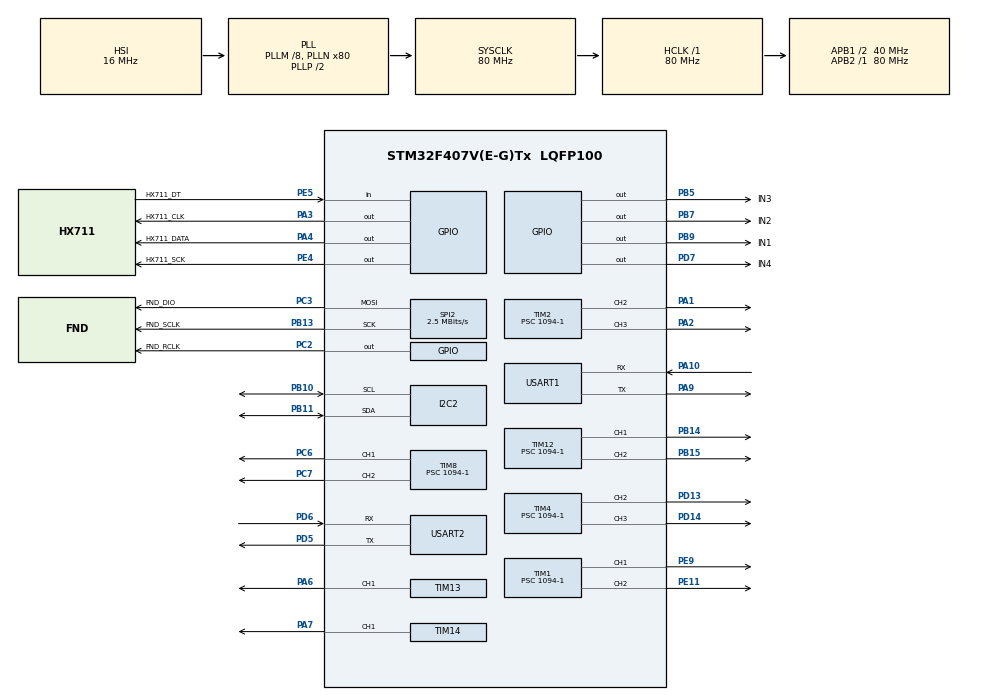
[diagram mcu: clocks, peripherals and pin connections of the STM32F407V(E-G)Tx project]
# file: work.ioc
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I2C2.I2C_Mode=I2C_Fast
Mcu.Family=STM32F4
Mcu.Name=STM32F407V(E-G)Tx
Mcu.Package=LQFP100
NVIC.PriorityGroup=NVIC_PRIORITYGROUP_4
NVIC.TIM2_IRQn=true\:0\:0\:false\:false\:true\:true\:true\:true
NVIC.TIM3_IRQn=true\:10\:0\:true\:false\:true\:true\:true\:true
NVIC.TIM6_DAC_IRQn=true\:15\:0\:true\:false\:true\:true\:true\:true
NVIC.USART1_IRQn=true\:0\:0\:false\:false\:true\:true\:true\:true
NVIC.USART2_IRQn=true\:0\:0\:false\:false\:true\:true\:true\:true
PA1.Signal=S_TIM2_CH2
PA10.Mode=Asynchronous
PA10.Signal=USART1_RX
PA2.Signal=S_TIM2_CH3
PA3.GPIO_Label=HX711_CLK
PA3.GPIO_ModeDefaultOutputPP=GPIO_MODE_OUTPUT_PP
PA3.GPIO_PuPd=GPIO_PULLUP
PA3.GPIO_Speed=GPIO_SPEED_FREQ_HIGH
PA3.PinState=GPIO_PIN_SET
PA3.Signal=GPIO_Output
PA4.GPIO_Label=HX711_DATA
PA4.GPIO_PuPd=GPIO_PULLUP
PA4.GPIO_Speed=GPIO_SPEED_FREQ_HIGH
PA4.PinState=GPIO_PIN_SET
PA4.Signal=GPIO_Output
PA6.Signal=S_TIM13_CH1
PA7.Signal=S_TIM14_CH1
PA9.Mode=Asynchronous
PA9.Signal=USART1_TX
PB10.Mode=I2C
PB10.Signal=I2C2_SCL
PB11.Mode=I2C
PB11.Signal=I2C2_SDA
PB13.GPIO_Label=FND_SCLK
PB13.GPIO_Speed=GPIO_SPEED_FREQ_HIGH
PB13.Mode=TX_Only_Simplex_Unidirect_Master
PB13.Signal=SPI2_SCK
PB14.Signal=S_TIM12_CH1
PB15.Signal=S_TIM12_CH2
PB5.GPIO_Label=IN3
PB5.GPIO_ModeDefaultOutputPP=GPIO_MODE_OUTPUT_PP
PB5.GPIO_PuPd=GPIO_PULLUP
PB5.GPIO_Speed=GPIO_SPEED_FREQ_HIGH
PB5.PinState=GPIO_PIN_SET
PB5.Signal=GPIO_Output
PB7.GPIO_Label=IN2
PB7.GPIO_PuPd=GPIO_PULLUP
PB7.GPIO_Speed=GPIO_SPEED_FREQ_HIGH
PB7.PinState=GPIO_PIN_SET
PB7.Signal=GPIO_Output
PB9.GPIO_Label=IN1
PB9.GPIO_PuPd=GPIO_NOPULL
PB9.GPIO_Speed=GPIO_SPEED_FREQ_HIGH
PB9.PinState=GPIO_PIN_SET
PB9.Signal=GPIO_Output
PC14-OSC32_IN.Mode=LSE-External-Oscillator
PC14-OSC32_IN.Signal=RCC_OSC32_IN
PC15-OSC32_OUT.Mode=LSE-External-Oscillator
PC15-OSC32_OUT.Signal=RCC_OSC32_OUT
PC2.GPIO_Label=FND_RCLK
PC2.GPIO_PuPd=GPIO_PULLUP
PC2.GPIO_Speed=GPIO_SPEED_FREQ_HIGH
PC2.PinState=GPIO_PIN_SET
PC2.Signal=GPIO_Output
PC3.GPIO_Label=FND_DIO
PC3.GPIO_Speed=GPIO_SPEED_FREQ_HIGH
PC3.Mode=TX_Only_Simplex_Unidirect_Master
PC3.Signal=SPI2_MOSI
PC6.Signal=S_TIM8_CH1
PC7.Signal=S_TIM8_CH2
PD13.Signal=S_TIM4_CH2
PD14.Signal=S_TIM4_CH3
PD5.Mode=Asynchronous
PD5.Signal=USART2_TX
PD6.Mode=Asynchronous
PD6.Signal=USART2_RX
PD7.GPIO_Label=IN4
PD7.GPIO_PuPd=GPIO_PULLUP
PD7.GPIO_Speed=GPIO_SPEED_FREQ_HIGH
PD7.PinState=GPIO_PIN_SET
PD7.Signal=GPIO_Output
PE11.Signal=S_TIM1_CH2
PE4.GPIO_Label=HX711_SCK
PE4.Signal=GPIO_Output
PE5.GPIO_Label=HX711_DT
PE5.Signal=GPIO_Input
PE9.Signal=S_TIM1_CH1
PH0-OSC_IN.Mode=HSE-External-Oscillator
PH0-OSC_IN.Signal=RCC_OSC_IN
PH1-OSC_OUT.Mode=HSE-External-Oscillator
PH1-OSC_OUT.Signal=RCC_OSC_OUT
ProjectManager.HeapSize=0x200
ProjectManager.StackSize=0x400
ProjectManager.TargetToolchain=STM32CubeIDE
RCC.48MHZClocksFreq_Value=40000000
RCC.AHBFreq_Value=80000000
RCC.APB1CLKDivider=RCC_HCLK_DIV2
RCC.APB1Freq_Value=40000000
RCC.APB1TimFreq_Value=80000000
RCC.APB2Freq_Value=80000000
RCC.APB2TimFreq_Value=80000000
RCC.CortexFreq_Value=80000000
RCC.HCLKFreq_Value=80000000
RCC.HSE_VALUE=25000000
RCC.HSI_VALUE=16000000
RCC.PLLM=8
RCC.PLLN=80
RCC.SYSCLKFreq_VALUE=80000000
RCC.SYSCLKSource=RCC_SYSCLKSOURCE_PLLCLK
RCC.VCOOutputFreq_Value=160000000
SH.S_TIM12_CH1.0=TIM12_CH1,PWM Generation1 CH1
SH.S_TIM12_CH2.0=TIM12_CH2,PWM Generation2 CH2
SH.S_TIM13_CH1.0=TIM13_CH1,PWM Generation1 CH1
SH.S_TIM14_CH1.0=TIM14_CH1,PWM Generation1 CH1
SH.S_TIM1_CH1.0=TIM1_CH1,PWM Generation1 CH1
SH.S_TIM1_CH2.0=TIM1_CH2,PWM Generation2 CH2
SH.S_TIM2_CH2.0=TIM2_CH2,PWM Generation2 CH2
SH.S_TIM2_CH3.0=TIM2_CH3,PWM Generation3 CH3
SH.S_TIM4_CH2.0=TIM4_CH2,PWM Generation2 CH2
SH.S_TIM4_CH3.0=TIM4_CH3,PWM Generation3 CH3
SH.S_TIM8_CH1.0=TIM8_CH1,PWM Generation1 CH1
SH.S_TIM8_CH2.0=TIM8_CH2,PWM Generation2 CH2
SPI2.BaudRatePrescaler=SPI_BAUDRATEPRESCALER_16
SPI2.CLKPhase=SPI_PHASE_2EDGE
SPI2.CLKPolarity=SPI_POLARITY_HIGH
SPI2.CalculateBaudRate=2.5 MBits/s
SPI2.Direction=SPI_DIRECTION_2LINES
SPI2.Mode=SPI_MODE_MASTER
SPI2.VirtualType=VM_MASTER
TIM1.Channel-PWM\ Generation1\ CH1=TIM_CHANNEL_1
TIM1.Channel-PWM\ Generation2\ CH2=TIM_CHANNEL_2
TIM1.OCPolarity_2=TIM_OCPOLARITY_LOW
TIM1.Period=9999
TIM1.Prescaler=1094-1
TIM1.Pulse-PWM\ Generation1\ CH1=500
TIM1.Pulse-PWM\ Generation2\ CH2=500
TIM12.Channel-PWM\ Generation1\ CH1=TIM_CHANNEL_1
TIM12.Channel-PWM\ Generation2\ CH2=TIM_CHANNEL_2
TIM12.OCPolarity_2=TIM_OCPOLARITY_LOW
TIM12.Period=1000-1
TIM12.Prescaler=1094-1
TIM12.Pulse-PWM\ Generation1\ CH1=500
TIM12.Pulse-PWM\ Generation2\ CH2=500
TIM13.Channel=TIM_CHANNEL_1
TIM13.Period=1000-1
TIM13.Prescaler=1094-1
TIM13.Pulse=500
TIM14.Channel=TIM_CHANNEL_1
TIM14.OCPolarity_1=TIM_OCPOLARITY_HIGH
TIM14.Period=1000-1
TIM14.Prescaler=1094-1
TIM14.Pulse=500
TIM2.Channel-Output\ Compare1\ No\ Output=TIM_CHANNEL_1
TIM2.Channel-PWM\ Generation2\ CH2=TIM_CHANNEL_2
TIM2.Channel-PWM\ Generation3\ CH3=TIM_CHANNEL_3
TIM2.OCPolarity_3=TIM_OCPOLARITY_LOW
TIM2.Period=1000-1
TIM2.Prescaler=1094-1
TIM2.Pulse-Output\ Compare1\ No\ Output=250
TIM2.Pulse-PWM\ Generation2\ CH2=500
TIM2.Pulse-PWM\ Generation3\ CH3=500
TIM2.TIM_MasterOutputTrigger=TIM_TRGO_OC1
TIM2.TIM_MasterSlaveMode=TIM_MASTERSLAVEMODE_ENABLE
TIM3.Period=50-1
TIM3.Prescaler=80-1
TIM4.Channel-Output\ Compare1\ No\ Output=TIM_CHANNEL_1
TIM4.Channel-PWM\ Generation2\ CH2=TIM_CHANNEL_2
TIM4.Channel-PWM\ Generation3\ CH3=TIM_CHANNEL_3
TIM4.OCPolarity_3=TIM_OCPOLARITY_LOW
TIM4.Period=1000-1
TIM4.Prescaler=1094-1
TIM4.Pulse-Output\ Compare1\ No\ Output=250
TIM4.Pulse-PWM\ Generation2\ CH2=500
TIM4.Pulse-PWM\ Generation3\ CH3=500
TIM4.TIM_MasterOutputTrigger=TIM_TRGO_OC1
TIM4.TIM_MasterSlaveMode=TIM_MASTERSLAVEMODE_ENABLE
TIM5.Prescaler=80-1
TIM6.Period=40000-1
TIM6.Prescaler=8000-1
TIM8.Channel-PWM\ Generation1\ CH1=TIM_CHANNEL_1
TIM8.Channel-PWM\ Generation2\ CH2=TIM_CHANNEL_2
TIM8.OCPolarity_2=TIM_OCPOLARITY_LOW
TIM8.Period=9999
TIM8.Prescaler=1094-1
TIM8.Pulse-PWM\ Generation1\ CH1=500
TIM8.Pulse-PWM\ Generation2\ CH2=500
TIM9.Prescaler=80-1
USART1.VirtualMode=VM_ASYNC
USART2.VirtualMode=VM_ASYNC
VP_TIM12_VS_ClockSourceINT.Mode=Internal
VP_TIM13_VS_ClockSourceINT.Mode=Enable_Timer
VP_TIM14_VS_ClockSourceINT.Mode=Enable_Timer
VP_TIM1_VS_ClockSourceINT.Mode=Internal
VP_TIM1_VS_ClockSourceITR.Mode=TriggerSource_ITR3
VP_TIM1_VS_ControllerModeReset.Mode=Reset Mode
VP_TIM2_VS_ClockSourceINT.Mode=Internal
VP_TIM2_VS_no_output1.Mode=Output Compare1 No Output
VP_TIM3_VS_ClockSourceINT.Mode=Internal
VP_TIM4_VS_ClockSourceINT.Mode=Internal
VP_TIM4_VS_no_output1.Mode=Output Compare1 No Output
VP_TIM5_VS_ClockSourceINT.Mode=Internal
VP_TIM6_VS_ClockSourceINT.Mode=Enable_Timer
VP_TIM8_VS_ClockSourceINT.Mode=Internal
VP_TIM8_VS_ClockSourceITR.Mode=TriggerSource_ITR1
VP_TIM8_VS_ControllerModeReset.Mode=Reset Mode
VP_TIM9_VS_ClockSourceINT.Mode=Internal
board=custom

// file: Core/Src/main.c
/* USER CODE BEGIN Header */
/**
 ******************************************************************************
 * @file           : main.c
 * @brief          : Main program body
 ******************************************************************************
 * @attention
 *
 * Copyright (c) 2023 STMicroelectronics.
 * All rights reserved.
 *
 * This software is licensed under terms that can be found in the LICENSE file
 * in the root directory of this software component.
 * If no LICENSE file comes with this software, it is provided AS-IS.
 *
 ******************************************************************************
 */
/* USER CODE END Header */
#include "main.h"

/* USER CODE BEGIN PTD */
#include <stdio.h>
#include <math.h>
#include "fnd_controller.h"
#include "fonts.h"
#include "ssd1306.h"
#include "test.h"
#include "bitmap.h"
#include "horse_anim.h"
#include "OledController.h"
#include "HX711.h"
#include "StepAngle.h"
#include <stdlib.h>
#include "StepController.h"
#include "ESP_DATA_HANDLER.h"
/* USER CODE END PTD */

/* USER CODE BEGIN PD */
#define SALT 1
#define SUGAR 2
#define BLACK 3
#define RED 4
#define ALL 5
/* USER CODE END PD */

I2C_HandleTypeDef hi2c2;

SPI_HandleTypeDef hspi2;

TIM_HandleTypeDef htim1;
TIM_HandleTypeDef htim2;
TIM_HandleTypeDef htim3;
TIM_HandleTypeDef htim4;
TIM_HandleTypeDef htim5;
TIM_HandleTypeDef htim6;
TIM_HandleTypeDef htim8;
TIM_HandleTypeDef htim9;
TIM_HandleTypeDef htim12;
TIM_HandleTypeDef htim13;
TIM_HandleTypeDef htim14;

UART_HandleTypeDef huart1;
UART_HandleTypeDef huart2;

/* USER CODE BEGIN PV */
int _write(int file, char *p, int len) {
	HAL_UART_Transmit(&huart1, (uint8_t*) p, len, 10);
	return len;
}

char uart_cali[10] = "";
char senddata[20] = "zzz";

int32_t weight = 0;
int32_t initial_weight = 0;
float weight_f = 0;
float initial_weight_f = 0;
float uart_weight_f = 0;
float avg_weight_f = 0;
int hx_flag = 0;
int uart_cnt = 0;
int print_flag = 0;
int salt_weight = 0;
int sugar_weight = 0;

int step_flag = 0;

int ploar_flag = 0;

int experiment_flag = 0;

uint16_t ttteee1;
uint16_t ttteee2;

extern userDetails user[10];
extern int usernumber;

int print_usernumber;

/*
 // bluetooth uart
 uint8_t rx3_data;
 uint8_t rx1_data;

 char Rx_buffer[100];

 int Rx_index = 0;
 char which;
 */

/* USER CODE END PV */

void SystemClock_Config(void);
static void MX_GPIO_Init(void);
static void MX_TIM2_Init(void);
static void MX_USART1_UART_Init(void);
static void MX_SPI2_Init(void);
static void MX_TIM3_Init(void);
static void MX_TIM4_Init(void);
static void MX_I2C2_Init(void);
static void MX_TIM5_Init(void);
static void MX_TIM8_Init(void);
static void MX_TIM1_Init(void);
static void MX_USART2_UART_Init(void);
static void MX_TIM12_Init(void);
static void MX_TIM13_Init(void);
static void MX_TIM14_Init(void);
static void MX_TIM9_Init(void);
static void MX_TIM6_Init(void);

/* USER CODE BEGIN 0 */

/*
 void HAL_UART_RxCpltCallback(UART_HandleTypeDef *huart)
 {

 if(huart -> Instance == USART1) //pc -> mobile
 {
 HAL_UART_Transmit(&huart1, &rx1_data, sizeof(rx1_data), 10);
 HAL_UART_Transmit(&huart3, &rx1_data, sizeof(rx1_data), 10);
 HAL_UART_Receive_IT(&huart1, &rx1_data, 1);

 }
 else if(huart->Instance == USART3) //mobile ->pc
 {

 //HAL_UART_Transmit(&huart1, "OK", strlen("OK"), 10);

 if(rx3_data == 'A' || rx3_data == 'B')
 {
 if(rx3_data == 'A')
 {
 hx_flag = 1;
 }
 else if(rx3_data == 'B')
 {
 hx_flag = 2;
 Rx_buffer[Rx_index] = '\0';
 Rx_index=0;
 sugar_weight = atoi(Rx_buffer);
 memset(Rx_buffer,'\0',sizeof(Rx_buffer));
 }
 }
 else if(rx3_data != '\n')
 {
 Rx_buffer[Rx_index++] = rx3_data;

 }

 else
 {

 HAL_TIM_PWM_Start(&htim2, TIM_CHANNEL_2);

 HAL_TIM_PWM_Start(&htim2, TIM_CHANNEL_3);

 HAL_TIM_PWM_Start(&htim8, TIM_CHANNEL_1);

 HAL_TIM_PWM_Start(&htim8, TIM_CHANNEL_2);

 print_flag = 1;
 Rx_buffer[Rx_index] = '\0';
 Rx_index=0;
 salt_weight = atoi(Rx_buffer);

 //uart_weight_f = atof(Rx_buffer);

 }

 HAL_UART_Transmit(&huart1, &rx3_data, sizeof(rx3_data), 10);
 //HAL_UART_Transmit(&huart1, rx3_buffer, strlen(rx3_buffer), 10);

 //startControll(rx3_data);
 //startControll(rx3_buffer);

 HAL_UART_Receive_IT(&huart3, &rx3_data, 1);

 //HAL_UART_Receive_IT(&huart3, rx3_buffer, strlen(rx3_buffer));

 }
 }

 */

/* USER CODE END 0 */

int main(void)
{
  /* USER CODE BEGIN 1 */

	int cnt = 0;
	float temp = 0;
	int idx = 0;
	//ttteee1 = TIM1->CCER;
	//ttteee2 = TIM1->CCER;
  /* USER CODE END 1 */

  /* MCU Configuration--------------------------------------------------------*/

  /* Reset of all peripherals, Initializes the Flash interface and the Systick. */
  HAL_Init();

  /* Configure the system clock */
  SystemClock_Config();

  /* Initialize all configured peripherals */
  MX_GPIO_Init();
  MX_TIM2_Init();
  MX_USART1_UART_Init();
  MX_SPI2_Init();
  MX_TIM3_Init();
  MX_TIM4_Init();
  MX_I2C2_Init();
  MX_TIM5_Init();
  MX_TIM8_Init();
  MX_TIM1_Init();
  MX_USART2_UART_Init();
  MX_TIM12_Init();
  MX_TIM13_Init();
  MX_TIM14_Init();
  MX_TIM9_Init();
  MX_TIM6_Init();
  /* USER CODE BEGIN 2 */

	//HAL_TIM_Base_Start_IT(&htim6);

	//black step(3) micro delay
	HAL_TIM_Base_Start(&htim9);
	//stepStart(SALT);

	//stepStart(SUGAR);

	//stepStart(BLACK);

	//stepStart(SUGAR);
	//stepStart(BLACK);

	//HAL_Delay(7000);

	//stepStop(SALT);
	//stepStop(SUGAR);
	//stepStop(BLACK);

	//HAL_Delay(4000);
/*
	HAL_Delay(3000);

	stepStart(BLACK);
	HAL_Delay(4000);
	stepStop(BLACK);

*/

	//ESP_Init("U+NetCB93", "1CEC007537", "192.168.123.107");

	//ESP_Init("TP-Link_A3B2", "60939388", "192.168.0.105");

	//ESP_Init("escode", "2023escode", "192.168.0.106");

	//ESP_Init("INU-wireless", "98062729", "10.92.0.103");

	ESP_Init("embest", "2023embest", "192.168.0.125");

	//hx711 _msdelay
	HAL_TIM_Base_Start(&htim5);

	//fnd
	init_fnd(&hspi2);

	//fnd interrupt
	HAL_TIM_Base_Start_IT(&htim3);

	//oled

	SSD1306_Init();

	printDefault();

	initial_weight = Get_Weight();

	initial_weight_f = Get_Weight_f();

	//print_flag = 1;

	//usernumber = 1;
	//Server_default();
  /* USER CODE END 2 */

  /* Infinite loop */
  /* USER CODE BEGIN WHILE */
	while (1) {

/*
		HAL_Delay(10000);

		TIM1->CCER |= 0x0002;
		TIM1->CCER |= 0x0008;

		HAL_Delay(10000);

		TIM1->CCER &= 0xFFFD;
		TIM1->CCER &= 0xFFFB;
*/

		//Server_Start();

		if (print_flag == 0) {
			Server_Start();

		}

		else {

			//?��?�� �???���??

			weight = Get_Weight() - initial_weight;
			weight *= -1;
			weight_f = Get_Weight_f() - initial_weight_f;
			weight_f *= -1;
			HAL_Delay(100);

			//all print
			//sugar
			if (print_flag == 3) {
				if(user[usernumber - 1].black == 0)
								{
									print_flag = 0;
									continue;

								}
				if(step_flag == 0)
					{
					stepStart(SUGAR);
					opening(0, print_flag);

					}
						if (usernumber == 0)
							print_usernumber = 9;
						else
							print_usernumber = usernumber - 1;
						if ((weight_f >= (float) user[print_usernumber].black / 15 * idx)
								&& print_flag != 0) {
							opening(idx, print_flag);
							idx++;
							if (idx > 15) {

								stepStop(SUGAR); // after pwm4, change
								//initial_weight_f = Get_Weight_f();
								//opening(15,hx_flag);
								idx = 0;
								hx_flag = 0;
								print_flag = 0;
								step_flag =0;
								weight_f = 0;
								HAL_Delay(3000);
								initial_weight_f = Get_Weight_f();

							}
						}
					}
			else if (print_flag == 2) {
				if(user[usernumber - 1].sugar == 0)
								{
									print_flag = 3;
									continue;

								}
				if(step_flag == 0)
					{
					stepStart(BLACK);
					opening(0, print_flag);

					}
				if (usernumber == 0)
					print_usernumber = 9;
				else
					print_usernumber = usernumber - 1;
				if ((weight_f >= (float) user[print_usernumber].sugar / 15 * idx)
						&& print_flag != 0) {
					opening(idx, print_flag);
					idx++;
					if (idx > 15) {

						weight_f = 0;
						stepStop(BLACK);

						//initial_weight_f = Get_Weight_f();
						//opening(15,hx_flag);
						idx = 0;
						hx_flag = 0;
						HAL_Delay(3000);
						initial_weight_f = Get_Weight_f();

						print_flag = 3;
						step_flag = 0;

					}
				}
			} else if (print_flag == 1 ) {
				if(user[usernumber - 1].salt == 0)
				{
					print_flag = 2;
					continue;

				}
				if(step_flag == 0)
				{
				stepStart(SALT);
				opening(0, print_flag);

				}
				if (usernumber == 0)
					print_usernumber = 9;
				else
					print_usernumber = usernumber - 1;
				if ((weight_f >= (float) user[usernumber - 1].salt / 15 * idx)
						&& print_flag != 0) {
					opening(idx, print_flag);
					idx++;
					if (idx > 15) {
						weight_f = 0;
						//initial_weight_f = Get_Weight_f();
						//opening(15,hx_flag);
						idx = 0;
						hx_flag = 0;
						stepStop(SALT);

						HAL_Delay(3000);
						initial_weight_f = Get_Weight_f();

						print_flag = 2;
						step_flag = 0;
					}
				}
			}
		}

// indivisual print
		/*
		 if((weight >= uart_weight_f/15*idx) && hx_flag !=0)
		 {
		 opening(idx,hx_flag);
		 idx++;
		 if(idx > 15)
		 {
		 initial_weight = Get_Weight();
		 //opening(15,hx_flag);
		 idx=0;
		 hx_flag=0;

		 }
		 }

		 */
		/*

		 weight_f = Get_Weight_f() - initial_weight_f;
		 weight_f *=-1;

		 weight_f = ceil(weight_f*10) / 10;

		 temp += weight_f;

		 cnt++;
		 if(cnt == 10)
		 {

		 cnt = 0;
		 avg_weight_f = temp/10;
		 avg_weight_f = ceil(avg_weight_f*10)/10;

		 if((avg_weight_f > uart_weight_f/15*idx) && hx_flag == 1)
		 {

		 opening(idx);
		 idx++;

		 }
		 if (idx >15)
		 {
		 idx = 1;
		 hx_flag = 0;
		 }

		 temp = 0;
		 }

		 HAL_Delay(100);

		 */

    /* USER CODE END WHILE */

	}
}

void SystemClock_Config(void)
{
  RCC_OscInitTypeDef RCC_OscInitStruct = {0};
  RCC_ClkInitTypeDef RCC_ClkInitStruct = {0};

  /** Configure the main internal regulator output voltage
  */
  __HAL_RCC_PWR_CLK_ENABLE();
  __HAL_PWR_VOLTAGESCALING_CONFIG(PWR_REGULATOR_VOLTAGE_SCALE1);

  /** Initializes the RCC Oscillators according to the specified parameters
  * in the RCC_OscInitTypeDef structure.
  */
  RCC_OscInitStruct.OscillatorType = RCC_OSCILLATORTYPE_HSI;
  RCC_OscInitStruct.HSIState = RCC_HSI_ON;
  RCC_OscInitStruct.HSICalibrationValue = RCC_HSICALIBRATION_DEFAULT;
  RCC_OscInitStruct.PLL.PLLState = RCC_PLL_ON;
  RCC_OscInitStruct.PLL.PLLSource = RCC_PLLSOURCE_HSI;
  RCC_OscInitStruct.PLL.PLLM = 8;
  RCC_OscInitStruct.PLL.PLLN = 80;
  RCC_OscInitStruct.PLL.PLLP = RCC_PLLP_DIV2;
  RCC_OscInitStruct.PLL.PLLQ = 4;
  if (HAL_RCC_OscConfig(&RCC_OscInitStruct) != HAL_OK)
  {
    Error_Handler();
  }

  /** Initializes the CPU, AHB and APB buses clocks
  */
  RCC_ClkInitStruct.ClockType = RCC_CLOCKTYPE_HCLK|RCC_CLOCKTYPE_SYSCLK
                              |RCC_CLOCKTYPE_PCLK1|RCC_CLOCKTYPE_PCLK2;
  RCC_ClkInitStruct.SYSCLKSource = RCC_SYSCLKSOURCE_PLLCLK;
  RCC_ClkInitStruct.AHBCLKDivider = RCC_SYSCLK_DIV1;
  RCC_ClkInitStruct.APB1CLKDivider = RCC_HCLK_DIV2;
  RCC_ClkInitStruct.APB2CLKDivider = RCC_HCLK_DIV1;

  if (HAL_RCC_ClockConfig(&RCC_ClkInitStruct, FLASH_LATENCY_2) != HAL_OK)
  {
    Error_Handler();
  }
}

static void MX_I2C2_Init(void)
{

  hi2c2.Instance = I2C2;
  hi2c2.Init.ClockSpeed = 400000;
  hi2c2.Init.DutyCycle = I2C_DUTYCYCLE_2;
  hi2c2.Init.OwnAddress1 = 0;
  hi2c2.Init.AddressingMode = I2C_ADDRESSINGMODE_7BIT;
  hi2c2.Init.DualAddressMode = I2C_DUALADDRESS_DISABLE;
  hi2c2.Init.OwnAddress2 = 0;
  hi2c2.Init.GeneralCallMode = I2C_GENERALCALL_DISABLE;
  hi2c2.Init.NoStretchMode = I2C_NOSTRETCH_DISABLE;
  if (HAL_I2C_Init(&hi2c2) != HAL_OK)
  {
    Error_Handler();
  }

}

static void MX_SPI2_Init(void)
{

  /* SPI2 parameter configuration*/
  hspi2.Instance = SPI2;
  hspi2.Init.Mode = SPI_MODE_MASTER;
  hspi2.Init.Direction = SPI_DIRECTION_2LINES;
  hspi2.Init.DataSize = SPI_DATASIZE_8BIT;
  hspi2.Init.CLKPolarity = SPI_POLARITY_HIGH;
  hspi2.Init.CLKPhase = SPI_PHASE_2EDGE;
  hspi2.Init.NSS = SPI_NSS_SOFT;
  hspi2.Init.BaudRatePrescaler = SPI_BAUDRATEPRESCALER_16;
  hspi2.Init.FirstBit = SPI_FIRSTBIT_MSB;
  hspi2.Init.TIMode = SPI_TIMODE_DISABLE;
  hspi2.Init.CRCCalculation = SPI_CRCCALCULATION_DISABLE;
  hspi2.Init.CRCPolynomial = 10;
  if (HAL_SPI_Init(&hspi2) != HAL_OK)
  {
    Error_Handler();
  }

}

static void MX_TIM1_Init(void)
{

  TIM_ClockConfigTypeDef sClockSourceConfig = {0};
  TIM_SlaveConfigTypeDef sSlaveConfig = {0};
  TIM_MasterConfigTypeDef sMasterConfig = {0};
  TIM_OC_InitTypeDef sConfigOC = {0};
  TIM_BreakDeadTimeConfigTypeDef sBreakDeadTimeConfig = {0};

  htim1.Instance = TIM1;
  htim1.Init.Prescaler = 1094-1;
  htim1.Init.CounterMode = TIM_COUNTERMODE_UP;
  htim1.Init.Period = 9999;
  htim1.Init.ClockDivision = TIM_CLOCKDIVISION_DIV1;
  htim1.Init.RepetitionCounter = 0;
  htim1.Init.AutoReloadPreload = TIM_AUTORELOAD_PRELOAD_DISABLE;
  if (HAL_TIM_Base_Init(&htim1) != HAL_OK)
  {
    Error_Handler();
  }
  sClockSourceConfig.ClockSource = TIM_CLOCKSOURCE_INTERNAL;
  if (HAL_TIM_ConfigClockSource(&htim1, &sClockSourceConfig) != HAL_OK)
  {
    Error_Handler();
  }
  if (HAL_TIM_PWM_Init(&htim1) != HAL_OK)
  {
    Error_Handler();
  }
  sSlaveConfig.SlaveMode = TIM_SLAVEMODE_RESET;
  sSlaveConfig.InputTrigger = TIM_TS_ITR3;
  if (HAL_TIM_SlaveConfigSynchro(&htim1, &sSlaveConfig) != HAL_OK)
  {
    Error_Handler();
  }
  sMasterConfig.MasterOutputTrigger = TIM_TRGO_RESET;
  sMasterConfig.MasterSlaveMode = TIM_MASTERSLAVEMODE_DISABLE;
  if (HAL_TIMEx_MasterConfigSynchronization(&htim1, &sMasterConfig) != HAL_OK)
  {
    Error_Handler();
  }
  sConfigOC.OCMode = TIM_OCMODE_PWM1;
  sConfigOC.Pulse = 500;
  sConfigOC.OCPolarity = TIM_OCPOLARITY_HIGH;
  sConfigOC.OCNPolarity = TIM_OCNPOLARITY_HIGH;
  sConfigOC.OCFastMode = TIM_OCFAST_DISABLE;
  sConfigOC.OCIdleState = TIM_OCIDLESTATE_RESET;
  sConfigOC.OCNIdleState = TIM_OCNIDLESTATE_RESET;
  if (HAL_TIM_PWM_ConfigChannel(&htim1, &sConfigOC, TIM_CHANNEL_1) != HAL_OK)
  {
    Error_Handler();
  }
  sConfigOC.OCPolarity = TIM_OCPOLARITY_LOW;
  if (HAL_TIM_PWM_ConfigChannel(&htim1, &sConfigOC, TIM_CHANNEL_2) != HAL_OK)
  {
    Error_Handler();
  }
  sBreakDeadTimeConfig.OffStateRunMode = TIM_OSSR_DISABLE;
  sBreakDeadTimeConfig.OffStateIDLEMode = TIM_OSSI_DISABLE;
  sBreakDeadTimeConfig.LockLevel = TIM_LOCKLEVEL_OFF;
  sBreakDeadTimeConfig.DeadTime = 0;
  sBreakDeadTimeConfig.BreakState = TIM_BREAK_DISABLE;
  sBreakDeadTimeConfig.BreakPolarity = TIM_BREAKPOLARITY_HIGH;
  sBreakDeadTimeConfig.AutomaticOutput = TIM_AUTOMATICOUTPUT_DISABLE;
  if (HAL_TIMEx_ConfigBreakDeadTime(&htim1, &sBreakDeadTimeConfig) != HAL_OK)
  {
    Error_Handler();
  }
  HAL_TIM_MspPostInit(&htim1);

}

static void MX_TIM2_Init(void)
{

  TIM_ClockConfigTypeDef sClockSourceConfig = {0};
  TIM_MasterConfigTypeDef sMasterConfig = {0};
  TIM_OC_InitTypeDef sConfigOC = {0};

  htim2.Instance = TIM2;
  htim2.Init.Prescaler = 1094-1;
  htim2.Init.CounterMode = TIM_COUNTERMODE_UP;
  htim2.Init.Period = 1000-1;
  htim2.Init.ClockDivision = TIM_CLOCKDIVISION_DIV1;
  htim2.Init.AutoReloadPreload = TIM_AUTORELOAD_PRELOAD_DISABLE;
  if (HAL_TIM_Base_Init(&htim2) != HAL_OK)
  {
    Error_Handler();
  }
  sClockSourceConfig.ClockSource = TIM_CLOCKSOURCE_INTERNAL;
  if (HAL_TIM_ConfigClockSource(&htim2, &sClockSourceConfig) != HAL_OK)
  {
    Error_Handler();
  }
  if (HAL_TIM_OC_Init(&htim2) != HAL_OK)
  {
    Error_Handler();
  }
  if (HAL_TIM_PWM_Init(&htim2) != HAL_OK)
  {
    Error_Handler();
  }
  sMasterConfig.MasterOutputTrigger = TIM_TRGO_OC1;
  sMasterConfig.MasterSlaveMode = TIM_MASTERSLAVEMODE_ENABLE;
  if (HAL_TIMEx_MasterConfigSynchronization(&htim2, &sMasterConfig) != HAL_OK)
  {
    Error_Handler();
  }
  sConfigOC.OCMode = TIM_OCMODE_TIMING;
  sConfigOC.Pulse = 250;
  sConfigOC.OCPolarity = TIM_OCPOLARITY_HIGH;
  sConfigOC.OCFastMode = TIM_OCFAST_DISABLE;
  if (HAL_TIM_OC_ConfigChannel(&htim2, &sConfigOC, TIM_CHANNEL_1) != HAL_OK)
  {
    Error_Handler();
  }
  sConfigOC.OCMode = TIM_OCMODE_PWM1;
  sConfigOC.Pulse = 500;
  if (HAL_TIM_PWM_ConfigChannel(&htim2, &sConfigOC, TIM_CHANNEL_2) != HAL_OK)
  {
    Error_Handler();
  }
  sConfigOC.OCPolarity = TIM_OCPOLARITY_LOW;
  if (HAL_TIM_PWM_ConfigChannel(&htim2, &sConfigOC, TIM_CHANNEL_3) != HAL_OK)
  {
    Error_Handler();
  }
  HAL_TIM_MspPostInit(&htim2);

}

static void MX_TIM3_Init(void)
{

  TIM_ClockConfigTypeDef sClockSourceConfig = {0};
  TIM_MasterConfigTypeDef sMasterConfig = {0};

  htim3.Instance = TIM3;
  htim3.Init.Prescaler = 80-1;
  htim3.Init.CounterMode = TIM_COUNTERMODE_UP;
  htim3.Init.Period = 50-1;
  htim3.Init.ClockDivision = TIM_CLOCKDIVISION_DIV1;
  htim3.Init.AutoReloadPreload = TIM_AUTORELOAD_PRELOAD_DISABLE;
  if (HAL_TIM_Base_Init(&htim3) != HAL_OK)
  {
    Error_Handler();
  }
  sClockSourceConfig.ClockSource = TIM_CLOCKSOURCE_INTERNAL;
  if (HAL_TIM_ConfigClockSource(&htim3, &sClockSourceConfig) != HAL_OK)
  {
    Error_Handler();
  }
  sMasterConfig.MasterOutputTrigger = TIM_TRGO_RESET;
  sMasterConfig.MasterSlaveMode = TIM_MASTERSLAVEMODE_DISABLE;
  if (HAL_TIMEx_MasterConfigSynchronization(&htim3, &sMasterConfig) != HAL_OK)
  {
    Error_Handler();
  }

}

static void MX_TIM4_Init(void)
{

  TIM_ClockConfigTypeDef sClockSourceConfig = {0};
  TIM_MasterConfigTypeDef sMasterConfig = {0};
  TIM_OC_InitTypeDef sConfigOC = {0};

  htim4.Instance = TIM4;
  htim4.Init.Prescaler = 1094-1;
  htim4.Init.CounterMode = TIM_COUNTERMODE_UP;
  htim4.Init.Period = 1000-1;
  htim4.Init.ClockDivision = TIM_CLOCKDIVISION_DIV1;
  htim4.Init.AutoReloadPreload = TIM_AUTORELOAD_PRELOAD_DISABLE;
  if (HAL_TIM_Base_Init(&htim4) != HAL_OK)
  {
    Error_Handler();
  }
  sClockSourceConfig.ClockSource = TIM_CLOCKSOURCE_INTERNAL;
  if (HAL_TIM_ConfigClockSource(&htim4, &sClockSourceConfig) != HAL_OK)
  {
    Error_Handler();
  }
  if (HAL_TIM_OC_Init(&htim4) != HAL_OK)
  {
    Error_Handler();
  }
  if (HAL_TIM_PWM_Init(&htim4) != HAL_OK)
  {
    Error_Handler();
  }
  sMasterConfig.MasterOutputTrigger = TIM_TRGO_OC1;
  sMasterConfig.MasterSlaveMode = TIM_MASTERSLAVEMODE_ENABLE;
  if (HAL_TIMEx_MasterConfigSynchronization(&htim4, &sMasterConfig) != HAL_OK)
  {
    Error_Handler();
  }
  sConfigOC.OCMode = TIM_OCMODE_TIMING;
  sConfigOC.Pulse = 250;
  sConfigOC.OCPolarity = TIM_OCPOLARITY_HIGH;
  sConfigOC.OCFastMode = TIM_OCFAST_DISABLE;
  if (HAL_TIM_OC_ConfigChannel(&htim4, &sConfigOC, TIM_CHANNEL_1) != HAL_OK)
  {
    Error_Handler();
  }
  sConfigOC.OCMode = TIM_OCMODE_PWM1;
  sConfigOC.Pulse = 500;
  if (HAL_TIM_PWM_ConfigChannel(&htim4, &sConfigOC, TIM_CHANNEL_2) != HAL_OK)
  {
    Error_Handler();
  }
  sConfigOC.OCPolarity = TIM_OCPOLARITY_LOW;
  if (HAL_TIM_PWM_ConfigChannel(&htim4, &sConfigOC, TIM_CHANNEL_3) != HAL_OK)
  {
    Error_Handler();
  }
  HAL_TIM_MspPostInit(&htim4);

}

static void MX_TIM5_Init(void)
{

  TIM_ClockConfigTypeDef sClockSourceConfig = {0};
  TIM_MasterConfigTypeDef sMasterConfig = {0};

  htim5.Instance = TIM5;
  htim5.Init.Prescaler = 80-1;
  htim5.Init.CounterMode = TIM_COUNTERMODE_UP;
  htim5.Init.Period = 4294967295;
  htim5.Init.ClockDivision = TIM_CLOCKDIVISION_DIV1;
  htim5.Init.AutoReloadPreload = TIM_AUTORELOAD_PRELOAD_DISABLE;
  if (HAL_TIM_Base_Init(&htim5) != HAL_OK)
  {
    Error_Handler();
  }
  sClockSourceConfig.ClockSource = TIM_CLOCKSOURCE_INTERNAL;
  if (HAL_TIM_ConfigClockSource(&htim5, &sClockSourceConfig) != HAL_OK)
  {
    Error_Handler();
  }
  sMasterConfig.MasterOutputTrigger = TIM_TRGO_RESET;
  sMasterConfig.MasterSlaveMode = TIM_MASTERSLAVEMODE_DISABLE;
  if (HAL_TIMEx_MasterConfigSynchronization(&htim5, &sMasterConfig) != HAL_OK)
  {
    Error_Handler();
  }

}

static void MX_TIM6_Init(void)
{

  TIM_MasterConfigTypeDef sMasterConfig = {0};

  htim6.Instance = TIM6;
  htim6.Init.Prescaler = 8000-1;
  htim6.Init.CounterMode = TIM_COUNTERMODE_UP;
  htim6.Init.Period = 40000-1;
  htim6.Init.AutoReloadPreload = TIM_AUTORELOAD_PRELOAD_DISABLE;
  if (HAL_TIM_Base_Init(&htim6) != HAL_OK)
  {
    Error_Handler();
  }
  sMasterConfig.MasterOutputTrigger = TIM_TRGO_RESET;
  sMasterConfig.MasterSlaveMode = TIM_MASTERSLAVEMODE_DISABLE;
  if (HAL_TIMEx_MasterConfigSynchronization(&htim6, &sMasterConfig) != HAL_OK)
  {
    Error_Handler();
  }

}

static void MX_TIM8_Init(void)
{

  TIM_ClockConfigTypeDef sClockSourceConfig = {0};
  TIM_SlaveConfigTypeDef sSlaveConfig = {0};
  TIM_MasterConfigTypeDef sMasterConfig = {0};
  TIM_OC_InitTypeDef sConfigOC = {0};
  TIM_BreakDeadTimeConfigTypeDef sBreakDeadTimeConfig = {0};

  htim8.Instance = TIM8;
  htim8.Init.Prescaler = 1094-1;
  htim8.Init.CounterMode = TIM_COUNTERMODE_UP;
  htim8.Init.Period = 9999;
  htim8.Init.ClockDivision = TIM_CLOCKDIVISION_DIV1;
  htim8.Init.RepetitionCounter = 0;
  htim8.Init.AutoReloadPreload = TIM_AUTORELOAD_PRELOAD_DISABLE;
  if (HAL_TIM_Base_Init(&htim8) != HAL_OK)
  {
    Error_Handler();
  }
  sClockSourceConfig.ClockSource = TIM_CLOCKSOURCE_INTERNAL;
  if (HAL_TIM_ConfigClockSource(&htim8, &sClockSourceConfig) != HAL_OK)
  {
    Error_Handler();
  }
  if (HAL_TIM_PWM_Init(&htim8) != HAL_OK)
  {
    Error_Handler();
  }
  sSlaveConfig.SlaveMode = TIM_SLAVEMODE_RESET;
  sSlaveConfig.InputTrigger = TIM_TS_ITR1;
  if (HAL_TIM_SlaveConfigSynchro(&htim8, &sSlaveConfig) != HAL_OK)
  {
    Error_Handler();
  }
  sMasterConfig.MasterOutputTrigger = TIM_TRGO_RESET;
  sMasterConfig.MasterSlaveMode = TIM_MASTERSLAVEMODE_DISABLE;
  if (HAL_TIMEx_MasterConfigSynchronization(&htim8, &sMasterConfig) != HAL_OK)
  {
    Error_Handler();
  }
  sConfigOC.OCMode = TIM_OCMODE_PWM1;
  sConfigOC.Pulse = 500;
  sConfigOC.OCPolarity = TIM_OCPOLARITY_HIGH;
  sConfigOC.OCNPolarity = TIM_OCNPOLARITY_HIGH;
  sConfigOC.OCFastMode = TIM_OCFAST_DISABLE;
  sConfigOC.OCIdleState = TIM_OCIDLESTATE_RESET;
  sConfigOC.OCNIdleState = TIM_OCNIDLESTATE_RESET;
  if (HAL_TIM_PWM_ConfigChannel(&htim8, &sConfigOC, TIM_CHANNEL_1) != HAL_OK)
  {
    Error_Handler();
  }
  sConfigOC.OCPolarity = TIM_OCPOLARITY_LOW;
  if (HAL_TIM_PWM_ConfigChannel(&htim8, &sConfigOC, TIM_CHANNEL_2) != HAL_OK)
  {
    Error_Handler();
  }
  sBreakDeadTimeConfig.OffStateRunMode = TIM_OSSR_DISABLE;
  sBreakDeadTimeConfig.OffStateIDLEMode = TIM_OSSI_DISABLE;
  sBreakDeadTimeConfig.LockLevel = TIM_LOCKLEVEL_OFF;
  sBreakDeadTimeConfig.DeadTime = 0;
  sBreakDeadTimeConfig.BreakState = TIM_BREAK_DISABLE;
  sBreakDeadTimeConfig.BreakPolarity = TIM_BREAKPOLARITY_HIGH;
  sBreakDeadTimeConfig.AutomaticOutput = TIM_AUTOMATICOUTPUT_DISABLE;
  if (HAL_TIMEx_ConfigBreakDeadTime(&htim8, &sBreakDeadTimeConfig) != HAL_OK)
  {
    Error_Handler();
  }
  HAL_TIM_MspPostInit(&htim8);

}

static void MX_TIM9_Init(void)
{

  TIM_ClockConfigTypeDef sClockSourceConfig = {0};

  htim9.Instance = TIM9;
  htim9.Init.Prescaler = 80-1;
  htim9.Init.CounterMode = TIM_COUNTERMODE_UP;
  htim9.Init.Period = 65535;
  htim9.Init.ClockDivision = TIM_CLOCKDIVISION_DIV1;
  htim9.Init.AutoReloadPreload = TIM_AUTORELOAD_PRELOAD_DISABLE;
  if (HAL_TIM_Base_Init(&htim9) != HAL_OK)
  {
    Error_Handler();
  }
  sClockSourceConfig.ClockSource = TIM_CLOCKSOURCE_INTERNAL;
  if (HAL_TIM_ConfigClockSource(&htim9, &sClockSourceConfig) != HAL_OK)
  {
    Error_Handler();
  }

}

static void MX_TIM12_Init(void)
{

  TIM_ClockConfigTypeDef sClockSourceConfig = {0};
  TIM_OC_InitTypeDef sConfigOC = {0};

  htim12.Instance = TIM12;
  htim12.Init.Prescaler = 1094-1;
  htim12.Init.CounterMode = TIM_COUNTERMODE_UP;
  htim12.Init.Period = 1000-1;
  htim12.Init.ClockDivision = TIM_CLOCKDIVISION_DIV1;
  htim12.Init.AutoReloadPreload = TIM_AUTORELOAD_PRELOAD_DISABLE;
  if (HAL_TIM_Base_Init(&htim12) != HAL_OK)
  {
    Error_Handler();
  }
  sClockSourceConfig.ClockSource = TIM_CLOCKSOURCE_INTERNAL;
  if (HAL_TIM_ConfigClockSource(&htim12, &sClockSourceConfig) != HAL_OK)
  {
    Error_Handler();
  }
  if (HAL_TIM_PWM_Init(&htim12) != HAL_OK)
  {
    Error_Handler();
  }
  sConfigOC.OCMode = TIM_OCMODE_PWM1;
  sConfigOC.Pulse = 500;
  sConfigOC.OCPolarity = TIM_OCPOLARITY_HIGH;
  sConfigOC.OCFastMode = TIM_OCFAST_DISABLE;
  if (HAL_TIM_PWM_ConfigChannel(&htim12, &sConfigOC, TIM_CHANNEL_1) != HAL_OK)
  {
    Error_Handler();
  }
  sConfigOC.OCPolarity = TIM_OCPOLARITY_LOW;
  if (HAL_TIM_PWM_ConfigChannel(&htim12, &sConfigOC, TIM_CHANNEL_2) != HAL_OK)
  {
    Error_Handler();
  }
  HAL_TIM_MspPostInit(&htim12);

}

static void MX_TIM13_Init(void)
{

  TIM_OC_InitTypeDef sConfigOC = {0};

  htim13.Instance = TIM13;
  htim13.Init.Prescaler = 1094-1;
  htim13.Init.CounterMode = TIM_COUNTERMODE_UP;
  htim13.Init.Period = 1000-1;
  htim13.Init.ClockDivision = TIM_CLOCKDIVISION_DIV1;
  htim13.Init.AutoReloadPreload = TIM_AUTORELOAD_PRELOAD_DISABLE;
  if (HAL_TIM_Base_Init(&htim13) != HAL_OK)
  {
    Error_Handler();
  }
  if (HAL_TIM_PWM_Init(&htim13) != HAL_OK)
  {
    Error_Handler();
  }
  sConfigOC.OCMode = TIM_OCMODE_PWM1;
  sConfigOC.Pulse = 500;
  sConfigOC.OCPolarity = TIM_OCPOLARITY_HIGH;
  sConfigOC.OCFastMode = TIM_OCFAST_DISABLE;
  if (HAL_TIM_PWM_ConfigChannel(&htim13, &sConfigOC, TIM_CHANNEL_1) != HAL_OK)
  {
    Error_Handler();
  }
  HAL_TIM_MspPostInit(&htim13);

}

static void MX_TIM14_Init(void)
{

  TIM_OC_InitTypeDef sConfigOC = {0};

  htim14.Instance = TIM14;
  htim14.Init.Prescaler = 1094-1;
  htim14.Init.CounterMode = TIM_COUNTERMODE_UP;
  htim14.Init.Period = 1000-1;
  htim14.Init.ClockDivision = TIM_CLOCKDIVISION_DIV1;
  htim14.Init.AutoReloadPreload = TIM_AUTORELOAD_PRELOAD_DISABLE;
  if (HAL_TIM_Base_Init(&htim14) != HAL_OK)
  {
    Error_Handler();
  }
  if (HAL_TIM_PWM_Init(&htim14) != HAL_OK)
  {
    Error_Handler();
  }
  sConfigOC.OCMode = TIM_OCMODE_PWM1;
  sConfigOC.Pulse = 500;
  sConfigOC.OCPolarity = TIM_OCPOLARITY_HIGH;
  sConfigOC.OCFastMode = TIM_OCFAST_DISABLE;
  if (HAL_TIM_PWM_ConfigChannel(&htim14, &sConfigOC, TIM_CHANNEL_1) != HAL_OK)
  {
    Error_Handler();
  }
  HAL_TIM_MspPostInit(&htim14);

}

static void MX_USART1_UART_Init(void)
{

  huart1.Instance = USART1;
  huart1.Init.BaudRate = 115200;
  huart1.Init.WordLength = UART_WORDLENGTH_8B;
  huart1.Init.StopBits = UART_STOPBITS_1;
  huart1.Init.Parity = UART_PARITY_NONE;
  huart1.Init.Mode = UART_MODE_TX_RX;
  huart1.Init.HwFlowCtl = UART_HWCONTROL_NONE;
  huart1.Init.OverSampling = UART_OVERSAMPLING_16;
  if (HAL_UART_Init(&huart1) != HAL_OK)
  {
    Error_Handler();
  }

}

static void MX_USART2_UART_Init(void)
{

  huart2.Instance = USART2;
  huart2.Init.BaudRate = 115200;
  huart2.Init.WordLength = UART_WORDLENGTH_8B;
  huart2.Init.StopBits = UART_STOPBITS_1;
  huart2.Init.Parity = UART_PARITY_NONE;
  huart2.Init.Mode = UART_MODE_TX_RX;
  huart2.Init.HwFlowCtl = UART_HWCONTROL_NONE;
  huart2.Init.OverSampling = UART_OVERSAMPLING_16;
  if (HAL_UART_Init(&huart2) != HAL_OK)
  {
    Error_Handler();
  }

}

static void MX_GPIO_Init(void)
{
  GPIO_InitTypeDef GPIO_InitStruct = {0};

  /* GPIO Ports Clock Enable */
  __HAL_RCC_GPIOE_CLK_ENABLE();
  __HAL_RCC_GPIOC_CLK_ENABLE();
  __HAL_RCC_GPIOH_CLK_ENABLE();
  __HAL_RCC_GPIOA_CLK_ENABLE();
  __HAL_RCC_GPIOB_CLK_ENABLE();
  __HAL_RCC_GPIOD_CLK_ENABLE();

  /*Configure GPIO pin Output Level */
  HAL_GPIO_WritePin(HX711_SCK_GPIO_Port, HX711_SCK_Pin, GPIO_PIN_RESET);

  /*Configure GPIO pin Output Level */
  HAL_GPIO_WritePin(FND_RCLK_GPIO_Port, FND_RCLK_Pin, GPIO_PIN_SET);

  /*Configure GPIO pin Output Level */
  HAL_GPIO_WritePin(GPIOA, HX711_CLK_Pin|HX711_DATA_Pin, GPIO_PIN_SET);

  /*Configure GPIO pin Output Level */
  HAL_GPIO_WritePin(IN4_GPIO_Port, IN4_Pin, GPIO_PIN_SET);

  /*Configure GPIO pin Output Level */
  HAL_GPIO_WritePin(GPIOB, IN3_Pin|IN2_Pin|IN1_Pin, GPIO_PIN_SET);

  /*Configure GPIO pin : HX711_SCK_Pin */
  GPIO_InitStruct.Pin = HX711_SCK_Pin;
  GPIO_InitStruct.Mode = GPIO_MODE_OUTPUT_PP;
  GPIO_InitStruct.Pull = GPIO_NOPULL;
  GPIO_InitStruct.Speed = GPIO_SPEED_FREQ_LOW;
  HAL_GPIO_Init(HX711_SCK_GPIO_Port, &GPIO_InitStruct);

  /*Configure GPIO pin : HX711_DT_Pin */
  GPIO_InitStruct.Pin = HX711_DT_Pin;
  GPIO_InitStruct.Mode = GPIO_MODE_INPUT;
  GPIO_InitStruct.Pull = GPIO_NOPULL;
  HAL_GPIO_Init(HX711_DT_GPIO_Port, &GPIO_InitStruct);

  /*Configure GPIO pin : FND_RCLK_Pin */
  GPIO_InitStruct.Pin = FND_RCLK_Pin;
  GPIO_InitStruct.Mode = GPIO_MODE_OUTPUT_PP;
  GPIO_InitStruct.Pull = GPIO_PULLUP;
  GPIO_InitStruct.Speed = GPIO_SPEED_FREQ_HIGH;
  HAL_GPIO_Init(FND_RCLK_GPIO_Port, &GPIO_InitStruct);

  /*Configure GPIO pins : HX711_CLK_Pin HX711_DATA_Pin */
  GPIO_InitStruct.Pin = HX711_CLK_Pin|HX711_DATA_Pin;
  GPIO_InitStruct.Mode = GPIO_MODE_OUTPUT_PP;
  GPIO_InitStruct.Pull = GPIO_PULLUP;
  GPIO_InitStruct.Speed = GPIO_SPEED_FREQ_HIGH;
  HAL_GPIO_Init(GPIOA, &GPIO_InitStruct);

  /*Configure GPIO pin : IN4_Pin */
  GPIO_InitStruct.Pin = IN4_Pin;
  GPIO_InitStruct.Mode = GPIO_MODE_OUTPUT_PP;
  GPIO_InitStruct.Pull = GPIO_PULLUP;
  GPIO_InitStruct.Speed = GPIO_SPEED_FREQ_HIGH;
  HAL_GPIO_Init(IN4_GPIO_Port, &GPIO_InitStruct);

  /*Configure GPIO pins : IN3_Pin IN2_Pin */
  GPIO_InitStruct.Pin = IN3_Pin|IN2_Pin;
  GPIO_InitStruct.Mode = GPIO_MODE_OUTPUT_PP;
  GPIO_InitStruct.Pull = GPIO_PULLUP;
  GPIO_InitStruct.Speed = GPIO_SPEED_FREQ_HIGH;
  HAL_GPIO_Init(GPIOB, &GPIO_InitStruct);

  /*Configure GPIO pin : IN1_Pin */
  GPIO_InitStruct.Pin = IN1_Pin;
  GPIO_InitStruct.Mode = GPIO_MODE_OUTPUT_PP;
  GPIO_InitStruct.Pull = GPIO_NOPULL;
  GPIO_InitStruct.Speed = GPIO_SPEED_FREQ_HIGH;
  HAL_GPIO_Init(IN1_GPIO_Port, &GPIO_InitStruct);

}

void Error_Handler(void)
{
	__disable_irq();
	while (1) {
	}
}
